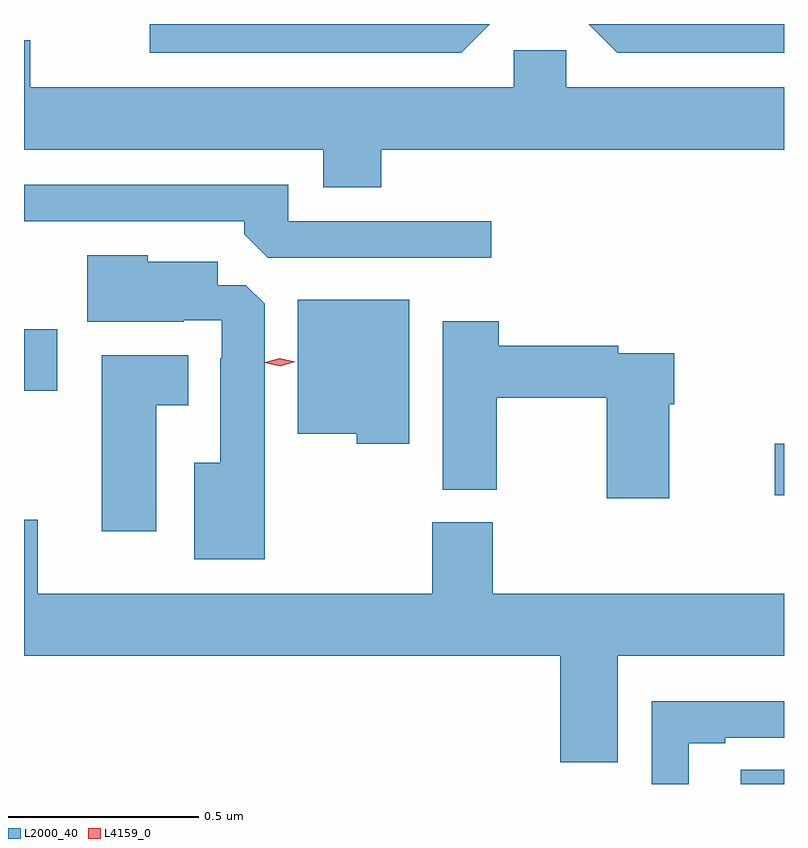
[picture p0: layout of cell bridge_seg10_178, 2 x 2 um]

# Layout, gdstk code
import gdstk
lib = gdstk.Library(unit=1e-6, precision=1e-09)
def R(c, l, rs):  # rectangles x0, y0, x1, y1
    for r in rs: c.add(gdstk.rectangle(r[:2], r[2:], *l))
def P(c, l, *ps):  # polygons
    for p in ps: c.add(gdstk.Polygon(p, *l))
L2000_40 = (2000, 40)
L4159_0 = (4159, 0)

bridge_seg10_178 = lib.new_cell('bridge_seg10_178')
R(bridge_seg10_178, L2000_40, [(192.996,1289.323,193.11,1289.36), (193.086,1290.083,193.11,1290.218), (191.11,1290.358,191.197,1290.52)])
P(bridge_seg10_178, L2000_40, [(192.336,1291.323),(191.441,1291.323),(191.441,1291.248),(192.261,1291.248)],
  [(193.11,1291.323),(192.596,1291.323),(192.671,1291.248),(193.11,1291.248)],
  [(192.05,1290.992),(193.11,1290.992),(193.11,1291.156),(192.537,1291.156),(192.537,1291.254),(192.399,1291.254),(192.399,1291.156),(191.127,1291.156),(191.127,1291.28),(191.11,1291.28),(191.11,1290.992),(191.897,1290.992),(191.897,1290.893),(192.05,1290.893)],
  [(192.34,1290.804),(191.805,1290.804),(191.805,1290.9),(191.11,1290.9),(191.11,1290.804),(191.69,1290.804),(191.69,1290.77),(191.751,1290.708),(192.34,1290.708)],
  [(191.743,1290.587),(191.694,1290.636),(191.62,1290.636),(191.62,1290.697),(191.436,1290.697),(191.436,1290.715),(191.276,1290.715),(191.276,1290.539),(191.531,1290.539),(191.531,1290.543),(191.631,1290.543),(191.631,1290.443),(191.627,1290.443),(191.627,1290.169),(191.558,1290.169),(191.558,1289.915),(191.743,1289.915)],
  [(192.124,1290.598),(191.831,1290.598),(191.831,1290.245),(191.985,1290.245),(191.985,1290.218),(192.124,1290.218)],
  [(192.808,1290.323),(192.821,1290.323),(192.821,1290.456),(192.674,1290.456),(192.674,1290.476),(192.359,1290.476),(192.359,1290.541),(192.212,1290.541),(192.212,1290.097),(192.354,1290.097),(192.354,1290.34),(192.643,1290.34),(192.643,1290.075),(192.808,1290.075)],
  [(191.458,1290.32),(191.542,1290.32),(191.542,1290.451),(191.315,1290.451),(191.315,1289.988),(191.458,1289.988)],
  [(192.184,1290.012),(192.184,1289.824),(191.146,1289.824),(191.146,1290.019),(191.11,1290.019),(191.11,1289.66),(192.521,1289.66),(192.521,1289.38),(192.673,1289.38),(192.673,1289.66),(193.11,1289.66),(193.11,1289.824),(192.344,1289.824),(192.344,1290.012)],
  [(192.859,1289.43),(192.955,1289.43),(192.955,1289.445),(193.11,1289.445),(193.11,1289.541),(192.762,1289.541),(192.762,1289.323),(192.859,1289.323)])
P(bridge_seg10_178, L4159_0, [(191.784,1290.423),(191.743,1290.432),(191.743,1290.433),(191.743,1290.433),(191.783,1290.443),(191.824,1290.434),(191.824,1290.434),(191.824,1290.434)])

lib.write_gds('bridge_seg10_178.gds')
